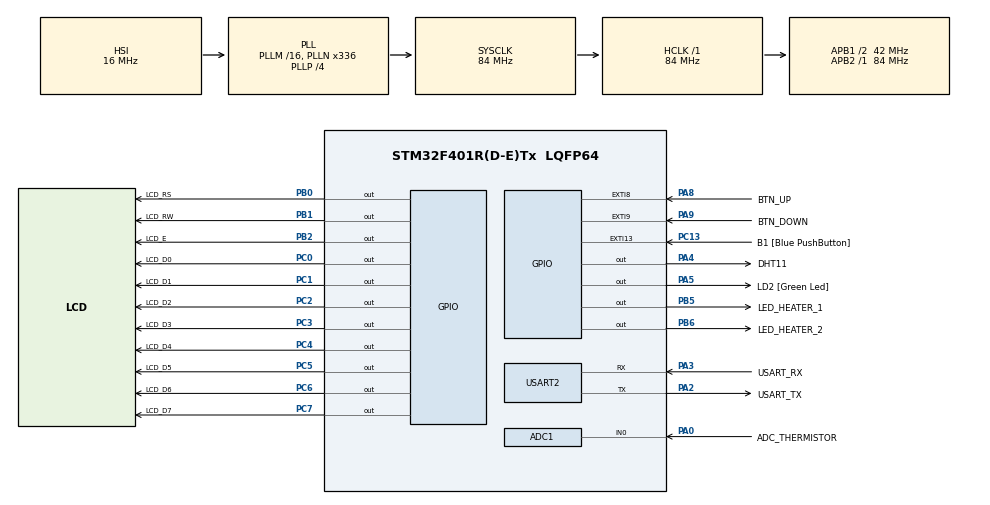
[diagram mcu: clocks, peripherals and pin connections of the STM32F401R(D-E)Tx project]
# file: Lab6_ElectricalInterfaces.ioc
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ADC1.Channel-0\#ChannelRegularConversion=ADC_CHANNEL_0
ADC1.NbrOfConversionFlag=1
ADC1.Rank-0\#ChannelRegularConversion=1
ADC1.SamplingTime-0\#ChannelRegularConversion=ADC_SAMPLETIME_480CYCLES
ADC1.master=1
Mcu.Family=STM32F4
Mcu.Name=STM32F401R(D-E)Tx
Mcu.Package=LQFP64
NVIC.EXTI15_10_IRQn=true\:0\:0\:false\:false\:true\:true\:true
NVIC.EXTI9_5_IRQn=true\:0\:0\:false\:false\:true\:true\:true
NVIC.PriorityGroup=NVIC_PRIORITYGROUP_0
PA0-WKUP.GPIO_Label=ADC_THERMISTOR
PA0-WKUP.Signal=ADCx_IN0
PA13.GPIO_Label=TMS
PA13.Mode=Serial_Wire
PA13.Signal=SYS_JTMS-SWDIO
PA14.GPIO_Label=TCK
PA14.Mode=Serial_Wire
PA14.Signal=SYS_JTCK-SWCLK
PA2.GPIO_Label=USART_TX
PA2.GPIO_Mode=GPIO_MODE_AF_PP
PA2.GPIO_PuPd=GPIO_NOPULL
PA2.GPIO_Speed=GPIO_SPEED_FREQ_LOW
PA2.Mode=Asynchronous
PA2.Signal=USART2_TX
PA3.GPIO_Label=USART_RX
PA3.GPIO_Mode=GPIO_MODE_AF_PP
PA3.GPIO_PuPd=GPIO_NOPULL
PA3.GPIO_Speed=GPIO_SPEED_FREQ_LOW
PA3.Mode=Asynchronous
PA3.Signal=USART2_RX
PA4.GPIO_Label=DHT11
PA4.GPIO_ModeDefaultOutputPP=GPIO_MODE_OUTPUT_OD
PA4.GPIO_PuPd=GPIO_PULLUP
PA4.Signal=GPIO_Output
PA5.GPIO_Label=LD2 [Green Led]
PA5.GPIO_Mode=GPIO_MODE_OUTPUT_PP
PA5.GPIO_PuPd=GPIO_NOPULL
PA5.GPIO_Speed=GPIO_SPEED_FREQ_LOW
PA5.Signal=GPIO_Output
PA8.GPIO_Label=BTN_UP
PA8.GPIO_PuPd=GPIO_PULLUP
PA8.Signal=GPXTI8
PA9.GPIO_Label=BTN_DOWN
PA9.GPIO_PuPd=GPIO_PULLUP
PA9.Signal=GPXTI9
PB0.GPIO_Label=LCD_RS
PB0.Signal=GPIO_Output
PB1.GPIO_Label=LCD_RW
PB1.Signal=GPIO_Output
PB2.GPIO_Label=LCD_E
PB2.Signal=GPIO_Output
PB3.GPIO_Label=SWO
PB3.Signal=SYS_JTDO-SWO
PB5.GPIO_Label=LED_HEATER_1
PB5.Signal=GPIO_Output
PB6.GPIO_Label=LED_HEATER_2
PB6.Signal=GPIO_Output
PC0.GPIO_Label=LCD_D0
PC0.Signal=GPIO_Output
PC1.GPIO_Label=LCD_D1
PC1.Signal=GPIO_Output
PC13-ANTI_TAMP.GPIO_Label=B1 [Blue PushButton]
PC13-ANTI_TAMP.GPIO_ModeDefaultEXTI=GPIO_MODE_IT_FALLING
PC13-ANTI_TAMP.GPIO_PuPd=GPIO_NOPULL
PC13-ANTI_TAMP.Signal=GPXTI13
PC14-OSC32_IN.Mode=LSE-External-Oscillator
PC14-OSC32_IN.Signal=RCC_OSC32_IN
PC15-OSC32_OUT.Mode=LSE-External-Oscillator
PC15-OSC32_OUT.Signal=RCC_OSC32_OUT
PC2.GPIO_Label=LCD_D2
PC2.Signal=GPIO_Output
PC3.GPIO_Label=LCD_D3
PC3.Signal=GPIO_Output
PC4.GPIO_Label=LCD_D4
PC4.Signal=GPIO_Output
PC5.GPIO_Label=LCD_D5
PC5.Signal=GPIO_Output
PC6.GPIO_Label=LCD_D6
PC6.Signal=GPIO_Output
PC7.GPIO_Label=LCD_D7
PC7.Signal=GPIO_Output
PH0\ -\ OSC_IN.Mode=HSE-External-Clock-Source
PH0\ -\ OSC_IN.Signal=RCC_OSC_IN
PH1\ -\ OSC_OUT.Mode=HSE-External-Clock-Source
PH1\ -\ OSC_OUT.Signal=RCC_OSC_OUT
ProjectManager.HeapSize=0x200
ProjectManager.StackSize=0x400
ProjectManager.TargetToolchain=STM32CubeIDE
RCC.48MHZClocksFreq_Value=48000000
RCC.AHBFreq_Value=84000000
RCC.APB1CLKDivider=RCC_HCLK_DIV2
RCC.APB1Freq_Value=42000000
RCC.APB1TimFreq_Value=84000000
RCC.APB2Freq_Value=84000000
RCC.APB2TimFreq_Value=84000000
RCC.CortexFreq_Value=84000000
RCC.HCLKFreq_Value=84000000
RCC.HSE_VALUE=8000000
RCC.HSI_VALUE=16000000
RCC.PLLN=336
RCC.PLLP=RCC_PLLP_DIV4
RCC.PLLQ=7
RCC.SYSCLKFreq_VALUE=84000000
RCC.SYSCLKSource=RCC_SYSCLKSOURCE_PLLCLK
RCC.VCOOutputFreq_Value=336000000
SH.ADCx_IN0.0=ADC1_IN0,IN0
USART2.VirtualMode=VM_ASYNC
board=NUCLEO-F401RE

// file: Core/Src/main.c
/* USER CODE BEGIN Header */
/**
 ******************************************************************************
 * @file           : main.c
 * @brief          : Main program body
 ******************************************************************************
 * @attention
 *
 * <h2><center>&copy; Copyright (c) 2020 STMicroelectronics.
 * All rights reserved.</center></h2>
 *
 * This software component is licensed by ST under BSD 3-Clause license,
 * the "License"; You may not use this file except in compliance with the
 * License. You may obtain a copy of the License at:
 *                        opensource.org/licenses/BSD-3-Clause
 *
 ******************************************************************************
 */
/* USER CODE END Header */
#include "main.h"

/* USER CODE BEGIN Includes */
#include "LCD.h"
#include <stdlib.h>
#include <math.h>

/* USER CODE END Includes */

/* USER CODE BEGIN PTD */

typedef enum{
	UNFILTERED_PRESSED_DOWN_BUTTON_EVENT,
	UNFILTERED_PRESSED_UP_BUTTON_EVENT,
	FILTERED_PRESSED_BUTTON_EVENT
} event_e;

/* USER CODE END PTD */

ADC_HandleTypeDef hadc1;

UART_HandleTypeDef huart2;

/* USER CODE BEGIN PV */
float channel_0 = 0;
int setTemp = 20;
int DHT11Temp = 0;
int thermistorTemp = 0;
TextLCDType LCD;

event_e eventButton;

uint16_t DHT11_timeout = 10000;
int16_t DHT11_buff_raw[41];
uint8_t DHT11_data[5];
char buff[2];

/* USER CODE END PV */

void SystemClock_Config(void);
static void MX_GPIO_Init(void);
static void MX_USART2_UART_Init(void);
static void MX_ADC1_Init(void);

/* USER CODE BEGIN 0 */

int16_t ReadAnalogTemp(){
	HAL_ADC_Start(&hadc1);
	if(HAL_ADC_PollForConversion(&hadc1, HAL_MAX_DELAY) == HAL_OK){
		channel_0 = HAL_ADC_GetValue(&hadc1);
	}
	HAL_ADC_Stop(&hadc1);

	int16_t temp = 0.0;
	int beta = 3450.0;
	int rt = 0.0;
	int r25 = 1000.0;
	int vs = 5.0;

	int vout = (channel_0/4095.0)*3.3;

	// thermistor resistance
	rt = (r25*vs / vout)-r25;

	// calculate temperature
	temp = beta/(log(rt/r25) + (beta/298.15))-273.15;

	return temp;
}

int16_t Read_DHT11_bit_raw(){
	uint16_t cnt_low = 0;

	while(HAL_GPIO_ReadPin(DHT11_GPIO_Port, DHT11_Pin) == 0){
		cnt_low ++;
		if(cnt_low >= DHT11_timeout){
			return DHT11_timeout;
		}
	}

	uint16_t cnt_high = 0;

	while(HAL_GPIO_ReadPin(DHT11_GPIO_Port, DHT11_Pin) == 1){
		cnt_high ++;
		if(cnt_high >= DHT11_timeout){
			return DHT11_timeout;
		}
	}

	return cnt_high-cnt_low;
}

int16_t Read_DHT11(){
	uint16_t cnt = 0;

	//HAL_GPIO_WritePin(DHT11_GPIO_Port, DHT11_Pin, SET);
	HAL_Delay(100);
	HAL_GPIO_WritePin(DHT11_GPIO_Port, DHT11_Pin, RESET);
	HAL_Delay(20);
	HAL_GPIO_WritePin(DHT11_GPIO_Port, DHT11_Pin, SET);

	while(HAL_GPIO_ReadPin(DHT11_GPIO_Port, DHT11_Pin) == 1){
		cnt++;
		if(cnt > DHT11_timeout){
			return -99;
		}
	}

	for(uint8_t k = 0; k<41; k++){
		DHT11_buff_raw[k] = Read_DHT11_bit_raw();
	}

	uint8_t val;
	for(uint8_t byte = 0; byte < 5; byte++){
		val = 0;
		for(uint8_t bit = 0; bit<8; bit++){
			if(DHT11_buff_raw[(byte << 3) +bit+1] >= DHT11_timeout){
				return -99;
			}

			val= val <<1;

			if(DHT11_buff_raw[(byte << 3)+bit+1]>0){
				val= val | 0x01;
			}
		}
		DHT11_data[byte] = val;
	}

	uint8_t sum = 0;
	for(uint8_t byte=0; byte < 4; byte++){
		sum+= DHT11_data[byte];
	}

	if(sum != DHT11_data[4]){
		return -99;
	}

	return DHT11_data[2];
}

void heaterLED(){
	if(DHT11Temp < setTemp && DHT11Temp != -99){
		// turn on LEDs
		HAL_GPIO_WritePin(LED_HEATER_1_GPIO_Port, LED_HEATER_1_Pin, SET);
		HAL_GPIO_WritePin(LED_HEATER_2_GPIO_Port, LED_HEATER_2_Pin, SET);
	}
	else{
		// LEDs off
		HAL_GPIO_WritePin(LED_HEATER_1_GPIO_Port, LED_HEATER_1_Pin, RESET);
		HAL_GPIO_WritePin(LED_HEATER_2_GPIO_Port, LED_HEATER_2_Pin, RESET);
	}
}

char* intToString(int digit){
	// snprintf
	itoa(digit, buff, 10);
	return buff;
}

/*void buttons(){
	if(eventButton == UNFILTERED_PRESSED_DOWN_BUTTON_EVENT){
		HAL_Delay(30);

		if(HAL_GPIO_ReadPin(BTN_DOWN_GPIO_Port, BTN_DOWN_Pin) == 1){
			setTemp-=1;
			if(setTemp < 15)
				setTemp = 15;
		}
		eventButton = FILTERED_PRESSED_BUTTON_EVENT;
	}

	if(eventButton == UNFILTERED_PRESSED_UP_BUTTON_EVENT){
		HAL_Delay(30);

		if(HAL_GPIO_ReadPin(BTN_UP_GPIO_Port, BTN_UP_Pin) == 1){
			setTemp+=1;
			if(setTemp > 30)
				setTemp = 30;
		}
		eventButton = FILTERED_PRESSED_BUTTON_EVENT;
	}
}	*/

void updateLCD(){
	// print out values on LCD

	//buttons();

	// position 0
	TextLCD_Clear(&LCD);

	// set temperature
	TextLCD_Puts(&LCD, "set:");
	TextLCD_Puts(&LCD, intToString(setTemp));

	// thermistor
	thermistorTemp = ReadAnalogTemp();
	TextLCD_Puts(&LCD, " th:");
	TextLCD_Puts(&LCD, intToString(thermistorTemp));

	// DHT11
	TextLCD_Position(&LCD, 1, 0);
	DHT11Temp = Read_DHT11();
	TextLCD_Puts(&LCD, " DHT11:");
	TextLCD_Puts(&LCD, intToString(DHT11Temp));
}

/* USER CODE END 0 */

int main(void)
{

	/* MCU Configuration--------------------------------------------------------*/

	/* Reset of all peripherals, Initializes the Flash interface and the Systick. */
	HAL_Init();

	/* Configure the system clock */
	SystemClock_Config();

	/* Initialize all configured peripherals */
	MX_GPIO_Init();
	MX_USART2_UART_Init();
	MX_ADC1_Init();
	/* USER CODE BEGIN 2 */

	TextLCD_Init(&LCD, GPIOB, LCD_RS_Pin, LCD_RW_Pin, LCD_E_Pin, GPIOC);	// LCD initialise

	/* USER CODE END 2 */

	/* Infinite loop */
	/* USER CODE BEGIN WHILE */
	while (1)
	{
		updateLCD();
		heaterLED();
		HAL_Delay(1000);
		/* USER CODE END WHILE */

	}
}

void SystemClock_Config(void)
{
	RCC_OscInitTypeDef RCC_OscInitStruct = {0};
	RCC_ClkInitTypeDef RCC_ClkInitStruct = {0};

	/** Configure the main internal regulator output voltage
	 */
	__HAL_RCC_PWR_CLK_ENABLE();
	__HAL_PWR_VOLTAGESCALING_CONFIG(PWR_REGULATOR_VOLTAGE_SCALE2);
	/** Initializes the RCC Oscillators according to the specified parameters
	 * in the RCC_OscInitTypeDef structure.
	 */
	RCC_OscInitStruct.OscillatorType = RCC_OSCILLATORTYPE_HSI;
	RCC_OscInitStruct.HSIState = RCC_HSI_ON;
	RCC_OscInitStruct.HSICalibrationValue = RCC_HSICALIBRATION_DEFAULT;
	RCC_OscInitStruct.PLL.PLLState = RCC_PLL_ON;
	RCC_OscInitStruct.PLL.PLLSource = RCC_PLLSOURCE_HSI;
	RCC_OscInitStruct.PLL.PLLM = 16;
	RCC_OscInitStruct.PLL.PLLN = 336;
	RCC_OscInitStruct.PLL.PLLP = RCC_PLLP_DIV4;
	RCC_OscInitStruct.PLL.PLLQ = 7;
	if (HAL_RCC_OscConfig(&RCC_OscInitStruct) != HAL_OK)
	{
		Error_Handler();
	}
	/** Initializes the CPU, AHB and APB buses clocks
	 */
	RCC_ClkInitStruct.ClockType = RCC_CLOCKTYPE_HCLK|RCC_CLOCKTYPE_SYSCLK
			|RCC_CLOCKTYPE_PCLK1|RCC_CLOCKTYPE_PCLK2;
	RCC_ClkInitStruct.SYSCLKSource = RCC_SYSCLKSOURCE_PLLCLK;
	RCC_ClkInitStruct.AHBCLKDivider = RCC_SYSCLK_DIV1;
	RCC_ClkInitStruct.APB1CLKDivider = RCC_HCLK_DIV2;
	RCC_ClkInitStruct.APB2CLKDivider = RCC_HCLK_DIV1;

	if (HAL_RCC_ClockConfig(&RCC_ClkInitStruct, FLASH_LATENCY_2) != HAL_OK)
	{
		Error_Handler();
	}
}

static void MX_ADC1_Init(void)
{

	ADC_ChannelConfTypeDef sConfig = {0};

	/** Configure the global features of the ADC (Clock, Resolution, Data Alignment and number of conversion)
	 */
	hadc1.Instance = ADC1;
	hadc1.Init.ClockPrescaler = ADC_CLOCK_SYNC_PCLK_DIV4;
	hadc1.Init.Resolution = ADC_RESOLUTION_12B;
	hadc1.Init.ScanConvMode = DISABLE;
	hadc1.Init.ContinuousConvMode = DISABLE;
	hadc1.Init.DiscontinuousConvMode = DISABLE;
	hadc1.Init.ExternalTrigConvEdge = ADC_EXTERNALTRIGCONVEDGE_NONE;
	hadc1.Init.ExternalTrigConv = ADC_SOFTWARE_START;
	hadc1.Init.DataAlign = ADC_DATAALIGN_RIGHT;
	hadc1.Init.NbrOfConversion = 1;
	hadc1.Init.DMAContinuousRequests = DISABLE;
	hadc1.Init.EOCSelection = ADC_EOC_SINGLE_CONV;
	if (HAL_ADC_Init(&hadc1) != HAL_OK)
	{
		Error_Handler();
	}
	/** Configure for the selected ADC regular channel its corresponding rank in the sequencer and its sample time.
	 */
	sConfig.Channel = ADC_CHANNEL_0;
	sConfig.Rank = 1;
	sConfig.SamplingTime = ADC_SAMPLETIME_480CYCLES;
	if (HAL_ADC_ConfigChannel(&hadc1, &sConfig) != HAL_OK)
	{
		Error_Handler();
	}

}

static void MX_USART2_UART_Init(void)
{

	huart2.Instance = USART2;
	huart2.Init.BaudRate = 115200;
	huart2.Init.WordLength = UART_WORDLENGTH_8B;
	huart2.Init.StopBits = UART_STOPBITS_1;
	huart2.Init.Parity = UART_PARITY_NONE;
	huart2.Init.Mode = UART_MODE_TX_RX;
	huart2.Init.HwFlowCtl = UART_HWCONTROL_NONE;
	huart2.Init.OverSampling = UART_OVERSAMPLING_16;
	if (HAL_UART_Init(&huart2) != HAL_OK)
	{
		Error_Handler();
	}

}

static void MX_GPIO_Init(void)
{
	GPIO_InitTypeDef GPIO_InitStruct = {0};

	/* GPIO Ports Clock Enable */
	__HAL_RCC_GPIOC_CLK_ENABLE();
	__HAL_RCC_GPIOH_CLK_ENABLE();
	__HAL_RCC_GPIOA_CLK_ENABLE();
	__HAL_RCC_GPIOB_CLK_ENABLE();

	/*Configure GPIO pin Output Level */
	HAL_GPIO_WritePin(GPIOC, LCD_D0_Pin|LCD_D1_Pin|LCD_D2_Pin|LCD_D3_Pin
			|LCD_D4_Pin|LCD_D5_Pin|LCD_D6_Pin|LCD_D7_Pin, GPIO_PIN_RESET);

	/*Configure GPIO pin Output Level */
	HAL_GPIO_WritePin(GPIOA, DHT11_Pin|LD2_Pin, GPIO_PIN_RESET);

	/*Configure GPIO pin Output Level */
	HAL_GPIO_WritePin(GPIOB, LCD_RS_Pin|LCD_RW_Pin|LCD_E_Pin|LED_HEATER_1_Pin
			|LED_HEATER_2_Pin, GPIO_PIN_RESET);

	/*Configure GPIO pin : B1_Pin */
	GPIO_InitStruct.Pin = B1_Pin;
	GPIO_InitStruct.Mode = GPIO_MODE_IT_FALLING;
	GPIO_InitStruct.Pull = GPIO_NOPULL;
	HAL_GPIO_Init(B1_GPIO_Port, &GPIO_InitStruct);

	/*Configure GPIO pins : LCD_D0_Pin LCD_D1_Pin LCD_D2_Pin LCD_D3_Pin
                           LCD_D4_Pin LCD_D5_Pin LCD_D6_Pin LCD_D7_Pin */
	GPIO_InitStruct.Pin = LCD_D0_Pin|LCD_D1_Pin|LCD_D2_Pin|LCD_D3_Pin
			|LCD_D4_Pin|LCD_D5_Pin|LCD_D6_Pin|LCD_D7_Pin;
	GPIO_InitStruct.Mode = GPIO_MODE_OUTPUT_PP;
	GPIO_InitStruct.Pull = GPIO_NOPULL;
	GPIO_InitStruct.Speed = GPIO_SPEED_FREQ_LOW;
	HAL_GPIO_Init(GPIOC, &GPIO_InitStruct);

	/*Configure GPIO pin : DHT11_Pin */
	GPIO_InitStruct.Pin = DHT11_Pin;
	GPIO_InitStruct.Mode = GPIO_MODE_OUTPUT_OD;
	GPIO_InitStruct.Pull = GPIO_PULLUP;
	GPIO_InitStruct.Speed = GPIO_SPEED_FREQ_LOW;
	HAL_GPIO_Init(DHT11_GPIO_Port, &GPIO_InitStruct);

	/*Configure GPIO pin : LD2_Pin */
	GPIO_InitStruct.Pin = LD2_Pin;
	GPIO_InitStruct.Mode = GPIO_MODE_OUTPUT_PP;
	GPIO_InitStruct.Pull = GPIO_NOPULL;
	GPIO_InitStruct.Speed = GPIO_SPEED_FREQ_LOW;
	HAL_GPIO_Init(LD2_GPIO_Port, &GPIO_InitStruct);

	/*Configure GPIO pins : LCD_RS_Pin LCD_RW_Pin LCD_E_Pin LED_HEATER_1_Pin
                           LED_HEATER_2_Pin */
	GPIO_InitStruct.Pin = LCD_RS_Pin|LCD_RW_Pin|LCD_E_Pin|LED_HEATER_1_Pin
			|LED_HEATER_2_Pin;
	GPIO_InitStruct.Mode = GPIO_MODE_OUTPUT_PP;
	GPIO_InitStruct.Pull = GPIO_NOPULL;
	GPIO_InitStruct.Speed = GPIO_SPEED_FREQ_LOW;
	HAL_GPIO_Init(GPIOB, &GPIO_InitStruct);

	/*Configure GPIO pins : BTN_UP_Pin BTN_DOWN_Pin */
	GPIO_InitStruct.Pin = BTN_UP_Pin|BTN_DOWN_Pin;
	GPIO_InitStruct.Mode = GPIO_MODE_IT_RISING;
	GPIO_InitStruct.Pull = GPIO_PULLUP;
	HAL_GPIO_Init(GPIOA, &GPIO_InitStruct);

	/* EXTI interrupt init*/
	HAL_NVIC_SetPriority(EXTI9_5_IRQn, 0, 0);
	HAL_NVIC_EnableIRQ(EXTI9_5_IRQn);

	HAL_NVIC_SetPriority(EXTI15_10_IRQn, 0, 0);
	HAL_NVIC_EnableIRQ(EXTI15_10_IRQn);

}

/* USER CODE BEGIN 4 */

// Buttons
void HAL_GPIO_EXTI_Callback(uint16_t GPIO_Pin){
	//test interrupt
	HAL_GPIO_WritePin(LD2_GPIO_Port, LD2_Pin, SET);

	if(GPIO_Pin == B1_Pin){
		setTemp += 1;
	}
	if(GPIO_Pin == BTN_DOWN_Pin){
		//eventButton = UNFILTERED_PRESSED_DOWN_BUTTON_EVENT;
		setTemp-=1;

		if(setTemp < 15)
			setTemp = 15;
	}

	if(GPIO_Pin == BTN_UP_Pin){
		//eventButton = UNFILTERED_PRESSED_UP_BUTTON_EVENT;
		setTemp+=1;

		if(setTemp > 30)
			setTemp = 30;
	}
}

/* USER CODE END 4 */

void Error_Handler(void)
{
	__disable_irq();
	while (1)
	{
	}
}

/************************ (C) COPYRIGHT STMicroelectronics *****END OF FILE****/
